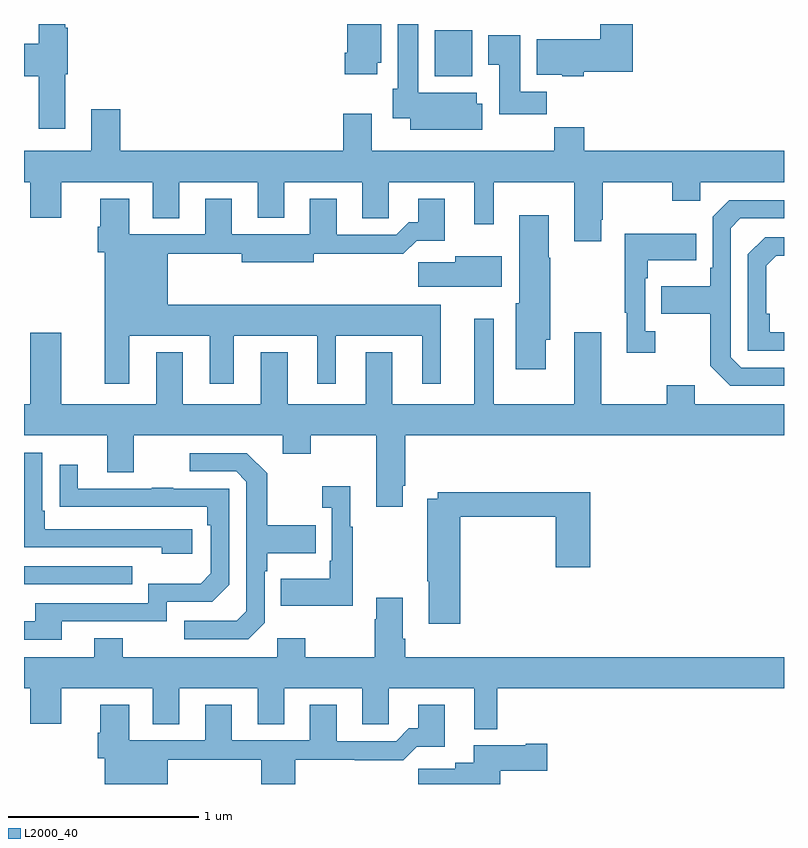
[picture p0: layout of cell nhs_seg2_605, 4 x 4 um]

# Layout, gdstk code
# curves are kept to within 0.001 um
import gdstk
lib = gdstk.Library(unit=1e-6, precision=1e-09)
def R(c, l, rs):  # rectangles x0, y0, x1, y1
    for r in rs: c.add(gdstk.rectangle(r[:2], r[2:], *l))
def P(c, l, *ps):  # polygons
    for p in ps: c.add(gdstk.Polygon(p, *l))
L2000_40 = (2000, 40)

nhs_seg2_605 = lib.new_cell('nhs_seg2_605')
R(nhs_seg2_605, L2000_40, [(141,646.851,141.569,646.947), (143.162,649.526,143.359,649.768)])
P(nhs_seg2_605, L2000_40, [(143.946,649.55),(144.203,649.55),(144.203,649.8),(144.032,649.8),(144.032,649.72),(143.699,649.72),(143.699,649.532),(143.832,649.532),(143.832,649.526),(143.946,649.526)],
  [(143.413,649.379),(143.383,649.379),(143.383,649.438),(143.074,649.438),(143.074,649.8),(142.967,649.8),(142.967,649.458),(142.94,649.458),(142.94,649.304),(143.033,649.304),(143.033,649.244),(143.413,649.244)],
  [(141.217,649.536),(141.23,649.536),(141.23,649.78),(141.217,649.78),(141.217,649.8),(141.077,649.8),(141.077,649.697),(141,649.697),(141,649.525),(141.077,649.525),(141.077,649.248),(141.217,649.248)],
  [(142.858,649.596),(142.879,649.596),(142.879,649.8),(142.7,649.8),(142.7,649.648),(142.688,649.648),(142.688,649.536),(142.858,649.536)],
  [(143.75,649.444),(143.611,649.444),(143.611,649.741),(143.444,649.741),(143.444,649.585),(143.501,649.585),(143.501,649.326),(143.75,649.326)],
  [(144.037,648.769),(144.045,648.769),(144.045,648.968),(144.412,648.968),(144.412,648.869),(144.558,648.869),(144.558,648.968),(145,648.968),(145,649.132),(143.948,649.132),(143.948,649.256),(143.791,649.256),(143.791,649.132),(142.831,649.132),(142.831,649.327),(142.679,649.327),(142.679,649.132),(141.506,649.132),(141.506,649.351),(141.353,649.351),(141.353,649.132),(141,649.132),(141,648.968),(141.032,648.968),(141.032,648.78),(141.196,648.78),(141.196,648.968),(141.677,648.968),(141.677,648.778),(141.817,648.778),(141.817,648.968),(142.229,648.968),(142.229,648.779),(142.369,648.779),(142.369,648.968),(142.781,648.968),(142.781,648.778),(142.92,648.778),(142.92,648.968),(143.369,648.968),(143.369,648.747),(143.473,648.747),(143.473,648.968),(143.897,648.968),(143.897,648.657),(144.037,648.657)],
  [(141.553,648.158),(141.977,648.158),(141.977,647.907),(142.105,647.907),(142.105,648.158),(142.544,648.158),(142.544,647.907),(142.642,647.907),(142.642,648.158),(143.096,648.158),(143.096,647.907),(143.194,647.907),(143.194,648.322),(141.757,648.322),(141.757,648.592),(142.145,648.592),(142.145,648.545),(142.525,648.545),(142.525,648.59),(142.997,648.59),(143.066,648.659),(143.215,648.659),(143.215,648.88),(143.075,648.88),(143.075,648.757),(143.026,648.757),(142.959,648.69),(142.645,648.69),(142.645,648.88),(142.505,648.88),(142.505,648.694),(142.093,648.693),(142.093,648.88),(141.953,648.88),(141.953,648.693),(141.553,648.693),(141.553,648.88),(141.401,648.88),(141.401,648.734),(141.389,648.734),(141.389,648.6),(141.425,648.6),(141.425,647.907),(141.553,647.907)],
  [(145,647.991),(144.774,647.991),(144.72,648.045),(144.72,648.726),(144.771,648.777),(145,648.777),(145,648.873),(144.711,648.873),(144.624,648.786),(144.624,648.517),(144.612,648.517),(144.612,648.421),(144.355,648.421),(144.355,648.274),(144.612,648.274),(144.612,648.001),(144.717,647.895),(145,647.895)],
  [(143.746,648.138),(143.769,648.138),(143.769,648.569),(143.761,648.569),(143.761,648.793),(143.606,648.793),(143.606,648.33),(143.588,648.33),(143.588,647.982),(143.746,647.982)],
  [(144.322,648.182),(144.27,648.182),(144.27,648.461),(144.283,648.461),(144.283,648.557),(144.539,648.557),(144.539,648.697),(144.162,648.697),(144.162,648.281),(144.173,648.281),(144.173,648.069),(144.322,648.069)],
  [(145,648.177),(144.926,648.177),(144.926,648.274),(144.906,648.274),(144.906,648.528),(144.959,648.581),(145,648.581),(145,648.678),(144.9,648.678),(144.81,648.588),(144.81,648.081),(145,648.081)],
  [(143.515,648.577),(143.27,648.577),(143.27,648.545),(143.076,648.545),(143.076,648.416),(143.515,648.416)],
  [(142.993,647.371),(143.006,647.371),(143.006,647.636),(145,647.636),(145,647.8),(144.529,647.8),(144.529,647.899),(144.382,647.899),(144.382,647.8),(144.037,647.8),(144.037,648.178),(143.897,648.178),(143.897,647.8),(143.473,647.8),(143.473,648.25),(143.369,648.25),(143.369,647.8),(142.939,647.8),(142.939,648.073),(142.799,648.073),(142.799,647.8),(142.387,647.8),(142.387,648.073),(142.247,648.073),(142.247,647.8),(141.835,647.8),(141.835,648.073),(141.695,648.073),(141.695,647.8),(141.196,647.8),(141.196,648.175),(141.032,648.175),(141.032,647.8),(141,647.8),(141,647.636),(141.437,647.636),(141.437,647.442),(141.577,647.442),(141.577,647.636),(142.361,647.636),(142.361,647.537),(142.509,647.537),(142.509,647.636),(142.853,647.636),(142.853,647.259),(142.993,647.259)],
  [(141.886,647.142),(141.109,647.142),(141.109,647.239),(141.096,647.239),(141.096,647.544),(141,647.544),(141,647.046),(141.725,647.046),(141.725,647.012),(141.886,647.012)],
  [(142.266,646.65),(142.266,646.919),(142.279,646.919),(142.279,647.015),(142.535,647.015),(142.535,647.163),(142.279,647.163),(142.279,647.435),(142.173,647.541),(141.873,647.541),(141.873,647.445),(142.116,647.445),(142.17,647.391),(142.17,646.71),(142.119,646.659),(141.843,646.659),(141.843,646.563),(142.179,646.563)],
  [(141.199,646.656),(141.75,646.656),(141.75,646.758),(141.99,646.758),(142.08,646.848),(142.08,647.355),(141.785,647.355),(141.785,647.36),(141.673,647.36),(141.673,647.355),(141.283,647.355),(141.283,647.479),(141.187,647.479),(141.187,647.26),(141.964,647.259),(141.964,647.162),(141.984,647.162),(141.984,646.908),(141.931,646.855),(141.654,646.855),(141.654,646.752),(141.059,646.752),(141.059,646.656),(141,646.656),(141,646.56),(141.199,646.56)],
  [(142.729,647.155),(142.717,647.155),(142.717,647.368),(142.569,647.368),(142.569,647.255),(142.62,647.255),(142.62,646.975),(142.608,646.975),(142.608,646.879),(142.351,646.879),(142.351,646.739),(142.729,646.739)],
  [(143.297,647.206),(143.798,647.206),(143.798,646.941),(143.981,646.941),(143.981,647.335),(143.178,647.335),(143.178,647.302),(143.122,647.302),(143.122,646.867),(143.129,646.867),(143.129,646.644),(143.297,646.644)],
  [(143.491,646.304),(145,646.304),(145,646.468),(143.006,646.468),(143.006,646.564),(142.993,646.564),(142.993,646.78),(142.853,646.78),(142.853,646.667),(142.846,646.667),(142.846,646.468),(142.479,646.468),(142.479,646.567),(142.332,646.567),(142.332,646.468),(141.519,646.468),(141.519,646.567),(141.371,646.567),(141.371,646.468),(141,646.468),(141,646.304),(141.032,646.304),(141.032,646.116),(141.196,646.116),(141.196,646.304),(141.677,646.304),(141.677,646.114),(141.817,646.114),(141.817,646.304),(142.229,646.304),(142.229,646.114),(142.369,646.114),(142.369,646.304),(142.781,646.304),(142.781,646.114),(142.92,646.114),(142.92,646.304),(143.369,646.304),(143.369,646.088),(143.491,646.088)],
  [(141.757,645.928),(142.249,645.928),(142.249,645.8),(142.427,645.8),(142.427,645.928),(142.741,645.928),(142.741,645.926),(142.997,645.926),(143.066,645.995),(143.215,645.995),(143.215,646.216),(143.075,646.216),(143.075,646.093),(143.026,646.093),(142.959,646.026),(142.645,646.026),(142.645,646.216),(142.505,646.216),(142.505,646.029),(142.093,646.029),(142.093,646.216),(141.953,646.216),(141.953,646.029),(141.553,646.029),(141.553,646.216),(141.401,646.216),(141.401,646.07),(141.389,646.07),(141.389,645.936),(141.425,645.936),(141.425,645.8),(141.757,645.8)],
  [(143.506,645.869),(143.755,645.869),(143.755,646.011),(143.642,646.011),(143.642,646.003),(143.366,646.003),(143.366,645.913),(143.27,645.913),(143.27,645.881),(143.076,645.881),(143.076,645.8),(143.506,645.8)])

lib.write_gds('nhs_seg2_605.gds')
